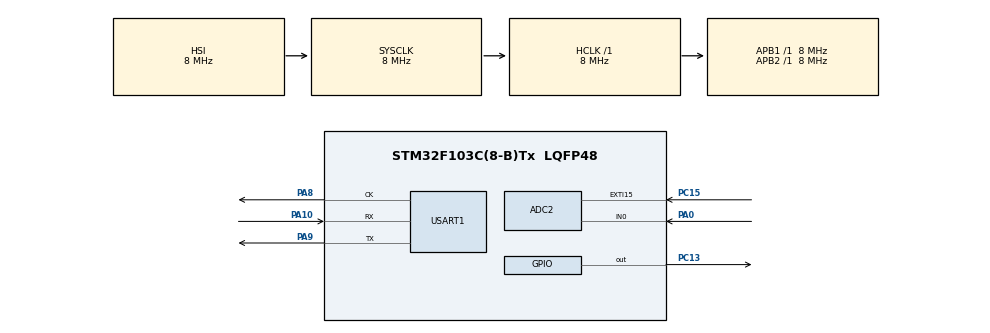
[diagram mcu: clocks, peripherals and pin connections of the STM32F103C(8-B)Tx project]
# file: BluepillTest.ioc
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ADC1.Channel-1\#ChannelRegularConversion=ADC_CHANNEL_TEMPSENSOR
ADC1.NbrOfConversionFlag=1
ADC1.Rank-1\#ChannelRegularConversion=1
ADC1.SamplingTime-1\#ChannelRegularConversion=ADC_SAMPLETIME_1CYCLE_5
ADC1.master=1
ADC2.Channel-0\#ChannelRegularConversion=ADC_CHANNEL_0
ADC2.EnableInjectedConversion=DISABLE
ADC2.ExternalTrigConv=ADC_SOFTWARE_START
ADC2.NbrOfConversion=1
ADC2.NbrOfConversionFlag=1
ADC2.Rank-0\#ChannelRegularConversion=1
ADC2.SamplingTime-0\#ChannelRegularConversion=ADC_SAMPLETIME_1CYCLE_5
FREERTOS.Tasks01=defaultTask,0,128,StartDefaultTask,Default,NULL,Dynamic,NULL,NULL
IWDG.Prescaler=IWDG_PRESCALER_8
Mcu.Family=STM32F1
Mcu.Name=STM32F103C(8-B)Tx
Mcu.Package=LQFP48
NVIC.PriorityGroup=NVIC_PRIORITYGROUP_4
NVIC.USART1_IRQn=true\:5\:0\:false\:false\:true\:true\:true\:true
PA0-WKUP.Signal=ADCx_IN0
PA10.Mode=Synchronous
PA10.Signal=USART1_RX
PA13.Mode=Serial_Wire
PA13.Signal=SYS_JTMS-SWDIO
PA14.Mode=Serial_Wire
PA14.Signal=SYS_JTCK-SWCLK
PA8.Mode=Synchronous
PA8.Signal=USART1_CK
PA9.Mode=Synchronous
PA9.Signal=USART1_TX
PC13-TAMPER-RTC.Signal=GPIO_Output
PC15-OSC32_OUT.Signal=GPXTI15
ProjectManager.HeapSize=0x200
ProjectManager.StackSize=0x400
ProjectManager.TargetToolchain=TrueSTUDIO
RCC.AHBFreq_Value=8000000
RCC.APB1Freq_Value=8000000
RCC.APB1TimFreq_Value=8000000
RCC.APB2Freq_Value=8000000
RCC.APB2TimFreq_Value=8000000
RCC.HCLKFreq_Value=8000000
RCC.PLLMUL=RCC_PLL_MUL16
RCC.SYSCLKFreq_VALUE=8000000
RCC.USBFreq_Value=64000000
SH.ADCx_IN0.0=ADC2_IN0,IN0
USART1.VirtualMode=VM_SYNC
VP_ADC1_TempSens_Input.Mode=IN-TempSens
VP_FREERTOS_VS_CMSIS_V1.Mode=CMSIS_V1
VP_IWDG_VS_IWDG.Mode=IWDG_Activate
board=custom

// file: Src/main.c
/* USER CODE BEGIN Header */
/**
  ******************************************************************************
  * @file           : main.c
  * @brief          : Main program body
  ******************************************************************************
  * @attention
  *
  * <h2><center>&copy; Copyright (c) 2020 STMicroelectronics.
  * All rights reserved.</center></h2>
  *
  * This software component is licensed by ST under Ultimate Liberty license
  * SLA0044, the "License"; You may not use this file except in compliance with
  * the License. You may obtain a copy of the License at:
  *                             www.st.com/SLA0044
  *
  ******************************************************************************
  */
/* USER CODE END Header */

#include "main.h"
#include "cmsis_os.h"

/* USER CODE BEGIN Includes */
#include "ledcontrol.h"
#include "adc_task.h"
#include "temperature_task.h"
#include "usart_task.h"
#include <stdint.h>
#include <math.h>
/* USER CODE END Includes */

ADC_HandleTypeDef hadc1;			//!< Variable to setting and using adc1.
ADC_HandleTypeDef hadc2;			//!< Variable to setting and using adc2.

IWDG_HandleTypeDef hiwdg;			//!< Variable to setting watchdog timer.

USART_HandleTypeDef husart1;		//!< Variable to setting and using usart.

osThreadId defaultTaskHandle;		//!< Variable to control default task (indicates work).
/* USER CODE BEGIN PV */
osThreadId adcTaskHandle; 			//!< Variable to control adc task (control measurements of voltage).
osThreadId temperatureTaskHandle; 	//!< Variable to control temperature task (control measurements of temperature).
osThreadId usartTaskHandle; 		//!< Variable to control usart task (Rx_Tx via uart).
uint8_t adc_request; 				//!< Flag to indicate received request to measure voltage.
uint8_t usart_tx_request;			//!< Flag to indicate end of measurement of voltage or temperature.
float temperature_tx; 				//!< Last measured temperature.
float adc_tx; 						//!< Last measured voltage.
/* USER CODE END PV */

void SystemClock_Config(void);
static void MX_GPIO_Init(void);
static void MX_ADC1_Init(void);
static void MX_USART1_Init(void);
static void MX_ADC2_Init(void);
static void MX_IWDG_Init(void);
void StartDefaultTask(void const * argument);

int main(void)
{

  /* MCU Configuration--------------------------------------------------------*/

  /* Reset of all peripherals, Initializes the Flash interface and the Systick. */
  HAL_Init();

  /* Configure the system clock */
  SystemClock_Config();

  /* Initialize all configured peripherals */
  MX_GPIO_Init();
  MX_ADC1_Init();
  MX_USART1_Init();
  MX_ADC2_Init();
  MX_IWDG_Init();

  /* Create the thread(s) */
  /* definition and creation of defaultTask */
  osThreadDef(defaultTask, StartDefaultTask, osPriorityNormal, 0, 32);
  defaultTaskHandle = osThreadCreate(osThread(defaultTask), NULL);

  /* USER CODE BEGIN RTOS_THREADS */
  /* add threads, ... */
  osThreadDef(adcTask, Adc_Task, osPriorityNormal, 0, 128);
  adcTaskHandle = osThreadCreate(osThread(adcTask), NULL);

  osThreadDef(temperatureTask, Temperature_Task, osPriorityNormal, 0, 64);
  temperatureTaskHandle = osThreadCreate(osThread(temperatureTask), NULL);

  osThreadDef(usartTask, Usart_Task, osPriorityNormal, 0, 256);
  usartTaskHandle = osThreadCreate(osThread(usartTask), NULL);
  /* USER CODE END RTOS_THREADS */

  /* Start scheduler */
  osKernelStart();

  /* We should never get here as control is now taken by the scheduler */

  /* Infinite loop */
  while (1)
  {

  }
}

void SystemClock_Config(void)
{
  RCC_OscInitTypeDef RCC_OscInitStruct = {0};
  RCC_ClkInitTypeDef RCC_ClkInitStruct = {0};
  RCC_PeriphCLKInitTypeDef PeriphClkInit = {0};

  /** Initializes the CPU, AHB and APB busses clocks
  */
//  RCC_OscInitStruct.OscillatorType = RCC_OSCILLATORTYPE_HSI|RCC_OSCILLATORTYPE_LSI;
  RCC_OscInitStruct.OscillatorType = RCC_OSCILLATORTYPE_HSI;
  RCC_OscInitStruct.HSIState = RCC_HSI_ON;
  RCC_OscInitStruct.HSICalibrationValue = RCC_HSICALIBRATION_DEFAULT;
  RCC_OscInitStruct.LSIState = RCC_LSI_ON;
  RCC_OscInitStruct.PLL.PLLState = RCC_PLL_NONE;
  if (HAL_RCC_OscConfig(&RCC_OscInitStruct) != HAL_OK)
  {
    Error_Handler();
  }
  /** Initializes the CPU, AHB and APB busses clocks
  */
  RCC_ClkInitStruct.ClockType = RCC_CLOCKTYPE_HCLK|RCC_CLOCKTYPE_SYSCLK
                              |RCC_CLOCKTYPE_PCLK1|RCC_CLOCKTYPE_PCLK2;
  RCC_ClkInitStruct.SYSCLKSource = RCC_SYSCLKSOURCE_HSI;
  RCC_ClkInitStruct.AHBCLKDivider = RCC_SYSCLK_DIV1;
  RCC_ClkInitStruct.APB1CLKDivider = RCC_HCLK_DIV1;
  RCC_ClkInitStruct.APB2CLKDivider = RCC_HCLK_DIV1;

  if (HAL_RCC_ClockConfig(&RCC_ClkInitStruct, FLASH_LATENCY_0) != HAL_OK)
  {
    Error_Handler();
  }
  PeriphClkInit.PeriphClockSelection = RCC_PERIPHCLK_ADC;
  PeriphClkInit.AdcClockSelection = RCC_ADCPCLK2_DIV2;
  if (HAL_RCCEx_PeriphCLKConfig(&PeriphClkInit) != HAL_OK)
  {
    Error_Handler();
  }
}

static void MX_ADC1_Init(void)
{

  ADC_ChannelConfTypeDef sConfig = {0};

  /** Common config
  */
  hadc1.Instance = ADC1;
  hadc1.Init.ScanConvMode = ADC_SCAN_DISABLE;
  hadc1.Init.ContinuousConvMode = DISABLE;
  hadc1.Init.DiscontinuousConvMode = DISABLE;
  hadc1.Init.ExternalTrigConv = ADC_SOFTWARE_START;
  hadc1.Init.DataAlign = ADC_DATAALIGN_RIGHT;
  hadc1.Init.NbrOfConversion = 1;
  if (HAL_ADC_Init(&hadc1) != HAL_OK)
  {
    Error_Handler();
  }
  /** Configure Regular Channel
  */
  sConfig.Channel = ADC_CHANNEL_TEMPSENSOR;
  sConfig.Rank = ADC_REGULAR_RANK_1;
  sConfig.SamplingTime = ADC_SAMPLETIME_1CYCLE_5;
  if (HAL_ADC_ConfigChannel(&hadc1, &sConfig) != HAL_OK)
  {
    Error_Handler();
  }

}

static void MX_ADC2_Init(void)
{

  ADC_ChannelConfTypeDef sConfig = {0};

  /** Common config
  */
  hadc2.Instance = ADC2;
  hadc2.Init.ScanConvMode = ADC_SCAN_DISABLE;
  hadc2.Init.ContinuousConvMode = DISABLE;
  hadc2.Init.DiscontinuousConvMode = DISABLE;
  hadc2.Init.ExternalTrigConv = ADC_SOFTWARE_START;
  hadc2.Init.DataAlign = ADC_DATAALIGN_RIGHT;
  hadc2.Init.NbrOfConversion = 1;
  if (HAL_ADC_Init(&hadc2) != HAL_OK)
  {
    Error_Handler();
  }
  /** Configure Regular Channel
  */
  sConfig.Channel = ADC_CHANNEL_0;
  sConfig.Rank = ADC_REGULAR_RANK_1;
  sConfig.SamplingTime = ADC_SAMPLETIME_1CYCLE_5;
  if (HAL_ADC_ConfigChannel(&hadc2, &sConfig) != HAL_OK)
  {
    Error_Handler();
  }

}

static void MX_IWDG_Init(void)
{

  hiwdg.Instance = IWDG;
  hiwdg.Init.Prescaler = IWDG_PRESCALER_16;
  hiwdg.Init.Reload = 4095;
  if (HAL_IWDG_Init(&hiwdg) != HAL_OK)
  {
    Error_Handler();
  }
  /* USER CODE BEGIN IWDG_Init 2 */

  // It'll count at least 0.8 sec to restart system.

  /* USER CODE END IWDG_Init 2 */

}

static void MX_USART1_Init(void)
{

  husart1.Instance = USART1;
  husart1.Init.BaudRate = 115200;
  husart1.Init.WordLength = USART_WORDLENGTH_8B;
  husart1.Init.StopBits = USART_STOPBITS_1;
  husart1.Init.Parity = USART_PARITY_NONE;
  husart1.Init.Mode = USART_MODE_TX_RX;
  husart1.Init.CLKPolarity = USART_POLARITY_LOW;
  husart1.Init.CLKPhase = USART_PHASE_1EDGE;
  husart1.Init.CLKLastBit = USART_LASTBIT_DISABLE;
  if (HAL_USART_Init(&husart1) != HAL_OK)
  {
    Error_Handler();
  }

}

static void MX_GPIO_Init(void)
{
  GPIO_InitTypeDef GPIO_InitStruct = {0};

  /* GPIO Ports Clock Enable */
  __HAL_RCC_GPIOC_CLK_ENABLE();
  __HAL_RCC_GPIOA_CLK_ENABLE();

  /*Configure GPIO pin Output Level */
  HAL_GPIO_WritePin(GPIOC, GPIO_PIN_13, GPIO_PIN_RESET);

  /*Configure GPIO pin : PC13 */
  GPIO_InitStruct.Pin = GPIO_PIN_13;
  GPIO_InitStruct.Mode = GPIO_MODE_OUTPUT_PP;
  GPIO_InitStruct.Pull = GPIO_NOPULL;
  GPIO_InitStruct.Speed = GPIO_SPEED_FREQ_LOW;
  HAL_GPIO_Init(GPIOC, &GPIO_InitStruct);

  /*Configure GPIO pin : PC15 */
  GPIO_InitStruct.Pin = GPIO_PIN_15;
  GPIO_InitStruct.Mode = GPIO_MODE_IT_RISING;
  GPIO_InitStruct.Pull = GPIO_NOPULL;
  HAL_GPIO_Init(GPIOC, &GPIO_InitStruct);

}

/* USER CODE BEGIN Header_StartDefaultTask */
/**
  * @brief  Function implementing the defaultTask thread. It indicates device work by switch led state.
  * @param  argument: Not used
  * @retval None
  */
/* USER CODE END Header_StartDefaultTask */
void StartDefaultTask(void const * argument)
{
  /* USER CODE BEGIN 5 */
  /* Infinite loop */
  led_state = GPIO_PIN_SET; // Start value - off
  HAL_GPIO_WritePin(STATUS_INDICATE_PORT, STATUS_INDICATE_PIN, led_state);
  usart_tx_request = 4; // indicates to send restart message via uart

  // Reload WD timer
  HAL_IWDG_Refresh(&hiwdg);

  for(;;)
  {
	Led_Switch();
    osDelay(LED_STATUS_CHECK_DELAY / 2);
    HAL_IWDG_Refresh(&hiwdg);
    osDelay(LED_STATUS_CHECK_DELAY / 2);
  }
  /* USER CODE END 5 */
}

void Error_Handler(void)
{
}

/************************ (C) COPYRIGHT STMicroelectronics *****END OF FILE****/
